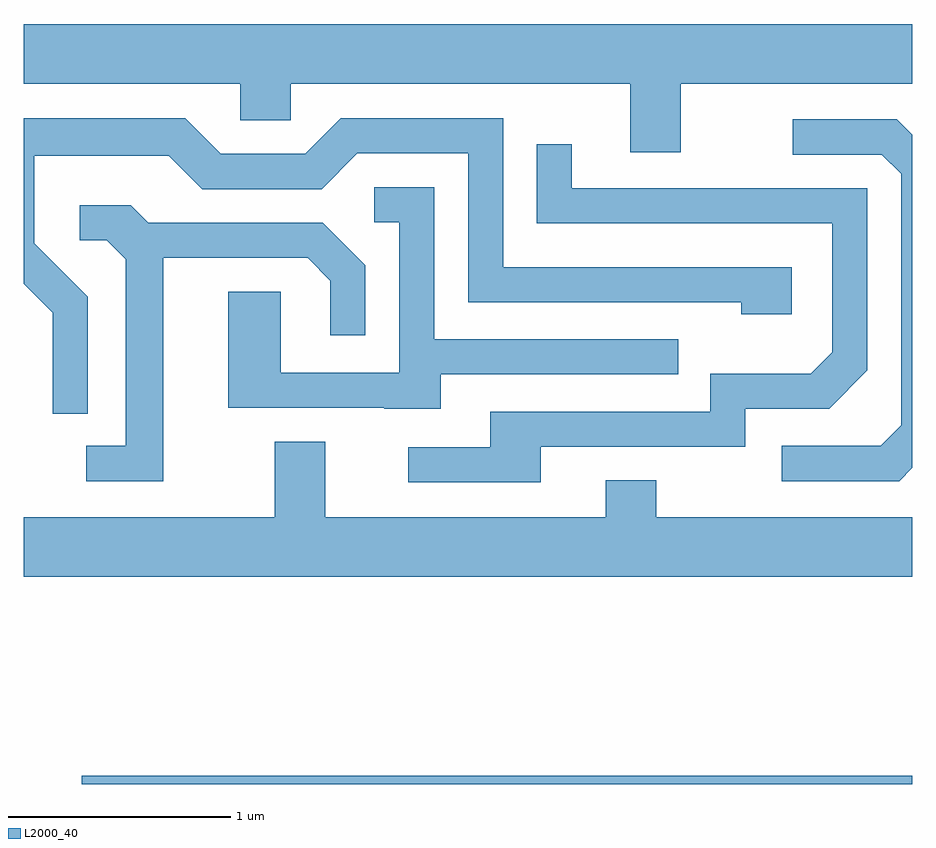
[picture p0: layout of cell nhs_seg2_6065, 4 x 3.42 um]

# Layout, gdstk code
import gdstk
lib = gdstk.Library(unit=1e-6, precision=1e-09)
def R(c, l, rs):  # rectangles x0, y0, x1, y1
    for r in rs: c.add(gdstk.rectangle(r[:2], r[2:], *l))
def P(c, l, *ps):  # polygons
    for p in ps: c.add(gdstk.Polygon(p, *l))
L2000_40 = (2000, 40)

nhs_seg2_6065 = lib.new_cell('nhs_seg2_6065')
R(nhs_seg2_6065, L2000_40, [(363.871,1071.802,367.611,1071.839)])
P(nhs_seg2_6065, L2000_40, [(366.569,1074.956),(367.611,1074.956),(367.611,1075.224),(363.611,1075.224),(363.611,1074.956),(364.586,1074.956),(364.586,1074.791),(364.814,1074.791),(364.814,1074.956),(366.341,1074.956),(366.341,1074.646),(366.569,1074.646)],
  [(363.899,1073.997),(363.659,1074.237),(363.659,1074.631),(364.264,1074.631),(364.414,1074.481),(364.952,1074.481),(365.112,1074.641),(365.611,1074.641),(365.611,1073.971),(366.841,1073.971),(366.841,1073.916),(367.069,1073.916),(367.069,1074.129),(365.769,1074.129),(365.769,1074.799),(365.039,1074.799),(364.879,1074.639),(364.497,1074.639),(364.337,1074.799),(363.611,1074.799),(363.611,1074.054),(363.741,1073.924),(363.741,1073.468),(363.899,1073.468)],
  [(367.611,1073.225),(367.611,1074.725),(367.542,1074.794),(367.073,1074.794),(367.073,1074.636),(367.474,1074.636),(367.561,1074.549),(367.561,1073.417),(367.469,1073.324),(367.023,1073.324),(367.023,1073.166),(367.552,1073.166)],
  [(365.939,1073.321),(366.859,1073.321),(366.859,1073.491),(367.237,1073.491),(367.409,1073.664),(367.409,1074.484),(366.079,1074.484),(366.079,1074.683),(365.921,1074.683),(365.921,1074.326),(367.251,1074.326),(367.251,1073.747),(367.154,1073.649),(366.701,1073.649),(366.701,1073.479),(365.711,1073.479),(365.711,1073.319),(365.343,1073.319),(365.343,1073.161),(365.939,1073.161)],
  [(365.489,1073.646),(366.558,1073.646),(366.558,1073.804),(365.459,1073.804),(365.459,1074.489),(365.188,1074.489),(365.188,1074.331),(365.301,1074.331),(365.301,1073.654),(364.769,1073.654),(364.769,1074.019),(364.531,1074.019),(364.531,1073.496),(365.235,1073.496),(365.235,1073.491),(365.489,1073.491)],
  [(364.239,1074.171),(364.889,1074.171),(364.991,1074.069),(364.991,1073.823),(365.149,1073.823),(365.149,1074.137),(364.957,1074.329),(364.172,1074.329),(364.092,1074.409),(363.863,1074.409),(363.863,1074.251),(363.984,1074.251),(364.071,1074.164),(364.071,1073.324),(363.893,1073.324),(363.893,1073.166),(364.239,1073.166)],
  [(367.611,1073.004),(366.459,1073.004),(366.459,1073.169),(366.231,1073.169),(366.231,1073.004),(364.969,1073.004),(364.969,1073.344),(364.741,1073.344),(364.741,1073.004),(363.611,1073.004),(363.611,1072.736),(367.611,1072.736)])

lib.write_gds('nhs_seg2_6065.gds')
